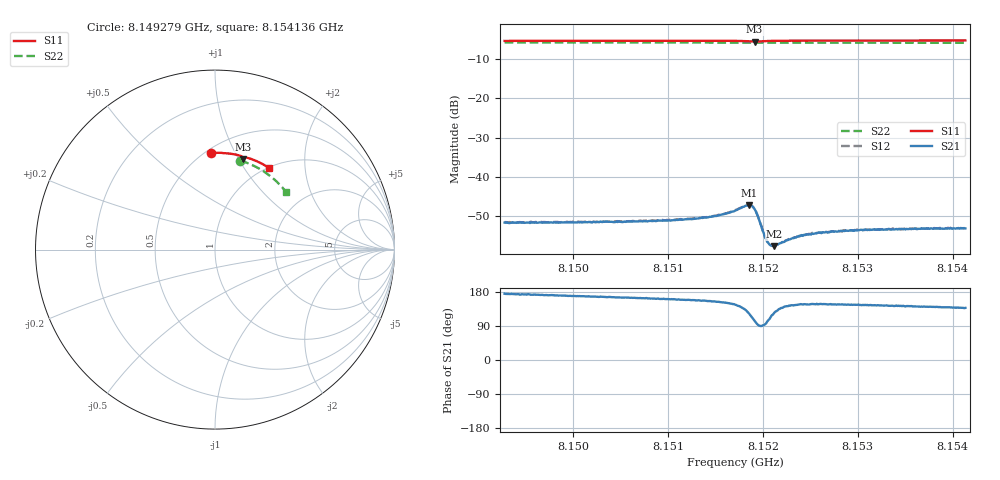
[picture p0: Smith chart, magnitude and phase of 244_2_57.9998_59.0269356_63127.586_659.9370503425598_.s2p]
#  HZ  S  RI  R  50.00
! Rohde & Schwarz Vector Network Analyzer
! Rohde-Schwarz,ZNB20-2Port,1311601062101988,3.16
! Created: UTC 3/21/2024, 1:01:11 AM
! freq[Hz]  re:S11  im:S11  re:S21  im:S21  re:S12  im:S12  re:S22  im:S22
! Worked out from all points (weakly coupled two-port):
!   401 points, 8.149279 GHz to 8.154136 GHz, reference 50 ohm
!   highest |S21| = -47.09 dB at 8.151853 GHz (marker M1); lowest = -57.6 dB at 8.15212 GHz (marker M2)
!   lowest |S11| = -5.5 dB at 8.151914 GHz (marker M3), VSWR 3.24, Z = 37.3 + j52.2 ohm
!   |S11| at or under -10 dB: nowhere
!   |S22| runs from -5.9 to -5.7 dB; largest |S21 - S12| = 0.00012
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8.1492795e9  -0.0204 0.5382  -0.00263 0.000233  -0.00267 0.000287  0.1409 0.4962
8.1500929e9  0.0364 0.539  -0.0026 0.000533  -0.00263 0.000574  0.1905 0.4784
8.1509063e9  0.0932 0.5332  -0.00265 0.000891  -0.00267 0.000925  0.238 0.4555
8.1513312e9  0.1232 0.5276  -0.00278 0.00115  -0.00275 0.00122  0.2617 0.4418
8.1515254e9  0.1372 0.5238  -0.0029 0.00144  -0.00294 0.00146  0.2724 0.4351
8.1517075e9  0.1512 0.5182  -0.0031 0.00209  -0.00312 0.00215  0.282 0.4285
8.1518047e9  0.158 0.5122  -0.00296 0.00299  -0.00296 0.00308  0.2871 0.4246
8.1518532e9  0.1593 0.5076  -0.00243 0.00369  -0.00241 0.00375  0.2895 0.4227
8.1518896e9  0.1579 0.505  -0.00155 0.00398  -0.00149 0.004  0.2911 0.4214
8.1519139e9  0.1563 0.5046  -0.000876 0.00382  -0.000845 0.00386  0.2924 0.4205
8.1519503e9  0.1545 0.5064  -0.000145 0.00314  -0.0001 0.00314  0.2942 0.4192
8.1520232e9  0.1579 0.5116  -0.000119 0.00171  -0.000123 0.00176  0.2979 0.4167
8.1520475e9  0.1601 0.5125  -0.000304 0.00147  -0.000293 0.00149  0.2991 0.4159
8.1520839e9  0.1634 0.5134  -0.000537 0.00124  -0.000524 0.00127  0.3011 0.4145
8.1521203e9  0.1667 0.5134  -0.000746 0.00109  -0.000752 0.00111  0.3031 0.4133
8.1521689e9  0.171 0.5131  -0.000986 0.00102  -0.00093 0.00104  0.3056 0.4114
8.152266e9  0.1787 0.5118  -0.00125 0.000975  -0.00126 0.000995  0.3105 0.4074
8.1523874e9  0.1877 0.5094  -0.0015 0.000992  -0.00146 0.00097  0.3166 0.4025
8.1525209e9  0.1971 0.5063  -0.00162 0.00102  -0.00163 0.00108  0.3232 0.397
8.152873e9  0.2207 0.4975  -0.00173 0.00116  -0.00173 0.00118  0.3401 0.3822
8.1533343e9  0.2501 0.4842  -0.00175 0.00132  -0.00172 0.00133  0.3611 0.3616
8.1541356e9  0.2988 0.4571  -0.00164 0.0015  -0.00165 0.00151  0.3943 0.3231
